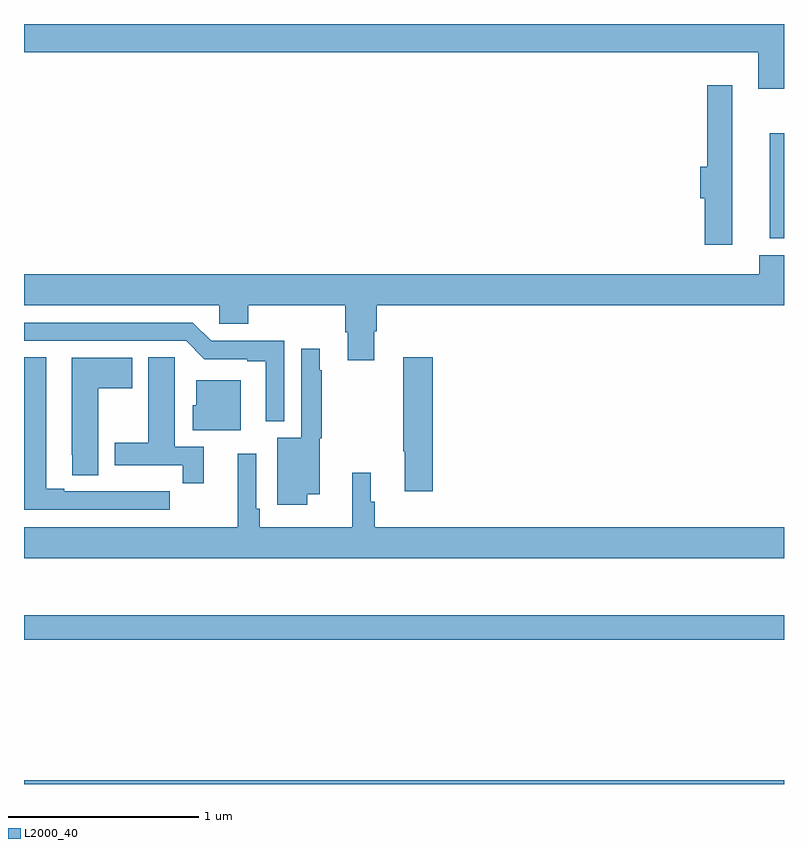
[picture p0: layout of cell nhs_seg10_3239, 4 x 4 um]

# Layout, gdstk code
import gdstk
lib = gdstk.Library(unit=1e-6, precision=1e-09)
def R(c, l, rs):  # rectangles x0, y0, x1, y1
    for r in rs: c.add(gdstk.rectangle(r[:2], r[2:], *l))
def P(c, l, *ps):  # polygons
    for p in ps: c.add(gdstk.Polygon(p, *l))
L2000_40 = (2000, 40)

nhs_seg10_3239 = lib.new_cell('nhs_seg10_3239')
R(nhs_seg10_3239, L2000_40, [(287,1260.5,291,1260.52), (287,1261.258,291,1261.387), (290.924,1263.372,291,1263.925)])
P(nhs_seg10_3239, L2000_40, [(291,1264.5),(287,1264.5),(287,1264.352),(290.864,1264.352),(290.864,1264.158),(291,1264.158)],
  [(290.728,1264.177),(290.597,1264.177),(290.597,1263.749),(290.558,1263.749),(290.558,1263.582),(290.582,1263.582),(290.582,1263.338),(290.728,1263.338)],
  [(288.844,1262.883),(288.857,1262.883),(288.857,1263.02),(291,1263.02),(291,1263.283),(290.87,1263.283),(290.87,1263.184),(287,1263.184),(287,1263.02),(288.027,1263.02),(288.027,1262.922),(288.179,1262.922),(288.179,1263.02),(288.692,1263.02),(288.692,1262.878),(288.704,1262.878),(288.704,1262.73),(288.844,1262.73)],
  [(288.369,1262.832),(287.985,1262.832),(287.889,1262.928),(287,1262.928),(287,1262.832),(287.853,1262.832),(287.949,1262.736),(288.176,1262.736),(288.176,1262.724),(288.272,1262.724),(288.272,1262.408),(288.369,1262.408)],
  [(288.49,1262.024),(288.556,1262.024),(288.556,1262.319),(288.568,1262.319),(288.568,1262.678),(288.556,1262.678),(288.556,1262.791),(288.459,1262.791),(288.459,1262.323),(288.332,1262.323),(288.332,1261.971),(288.49,1261.971)],
  [(287.767,1262.04),(287.654,1262.04),(287.654,1262.041),(287.488,1262.041),(287.488,1262.04),(287.212,1262.04),(287.212,1262.055),(287.116,1262.055),(287.116,1262.747),(287,1262.747),(287,1261.944),(287.767,1261.944)],
  [(287.945,1262.274),(287.794,1262.274),(287.794,1262.636),(287.793,1262.636),(287.793,1262.747),(287.654,1262.747),(287.654,1262.295),(287.477,1262.295),(287.477,1262.178),(287.836,1262.178),(287.836,1262.082),(287.945,1262.082)],
  [(289.151,1262.746),(288.997,1262.746),(288.997,1262.252),(289.004,1262.252),(289.004,1262.04),(289.151,1262.04)],
  [(287.392,1262.584),(287.569,1262.584),(287.569,1262.743),(287.252,1262.743),(287.252,1262.233),(287.253,1262.233),(287.253,1262.125),(287.392,1262.125)],
  [(288.142,1262.626),(287.906,1262.626),(287.906,1262.493),(287.888,1262.493),(287.888,1262.363),(288.142,1262.363)],
  [(291,1261.852),(288.845,1261.852),(288.845,1261.986),(288.826,1261.986),(288.826,1262.137),(288.727,1262.137),(288.727,1261.852),(288.242,1261.852),(288.242,1261.948),(288.222,1261.948),(288.222,1262.239),(288.125,1262.239),(288.125,1261.852),(287,1261.852),(287,1261.688),(291,1261.688)])

lib.write_gds('nhs_seg10_3239.gds')
